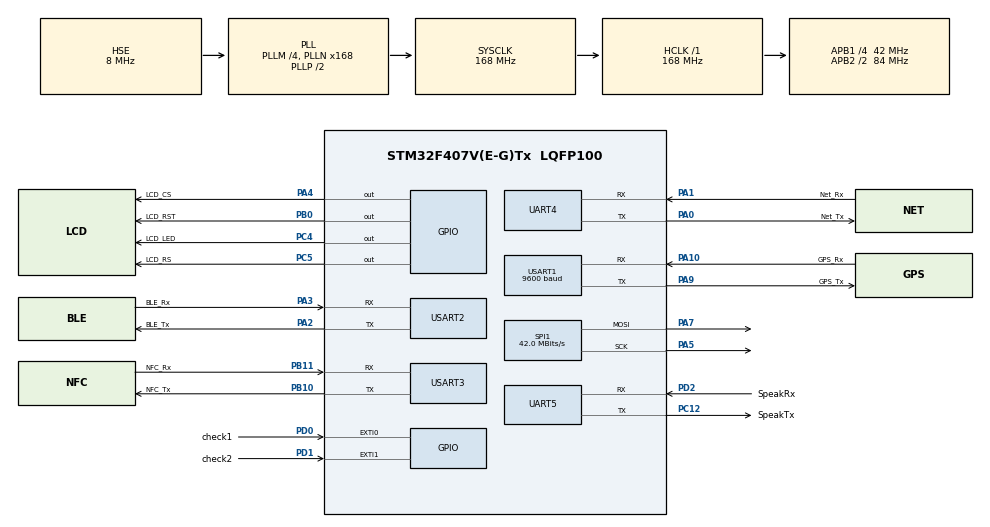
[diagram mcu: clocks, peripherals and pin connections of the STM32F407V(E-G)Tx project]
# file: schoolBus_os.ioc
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Dma.Request0=UART5_TX
Dma.Request1=UART5_RX
Dma.Request2=SPI1_TX
Dma.SPI1_TX.2.Direction=DMA_MEMORY_TO_PERIPH
Dma.SPI1_TX.2.FIFOMode=DMA_FIFOMODE_DISABLE
Dma.SPI1_TX.2.Instance=DMA2_Stream3
Dma.SPI1_TX.2.MemDataAlignment=DMA_MDATAALIGN_BYTE
Dma.SPI1_TX.2.MemInc=DMA_MINC_ENABLE
Dma.SPI1_TX.2.Mode=DMA_NORMAL
Dma.SPI1_TX.2.PeriphDataAlignment=DMA_PDATAALIGN_BYTE
Dma.SPI1_TX.2.PeriphInc=DMA_PINC_DISABLE
Dma.SPI1_TX.2.Priority=DMA_PRIORITY_MEDIUM
Dma.UART5_RX.1.Direction=DMA_PERIPH_TO_MEMORY
Dma.UART5_RX.1.FIFOMode=DMA_FIFOMODE_DISABLE
Dma.UART5_RX.1.Instance=DMA1_Stream0
Dma.UART5_RX.1.MemDataAlignment=DMA_MDATAALIGN_BYTE
Dma.UART5_RX.1.MemInc=DMA_MINC_ENABLE
Dma.UART5_RX.1.Mode=DMA_NORMAL
Dma.UART5_RX.1.PeriphDataAlignment=DMA_PDATAALIGN_BYTE
Dma.UART5_RX.1.PeriphInc=DMA_PINC_DISABLE
Dma.UART5_RX.1.Priority=DMA_PRIORITY_LOW
Dma.UART5_TX.0.Direction=DMA_MEMORY_TO_PERIPH
Dma.UART5_TX.0.FIFOMode=DMA_FIFOMODE_DISABLE
Dma.UART5_TX.0.Instance=DMA1_Stream7
Dma.UART5_TX.0.MemDataAlignment=DMA_MDATAALIGN_BYTE
Dma.UART5_TX.0.MemInc=DMA_MINC_ENABLE
Dma.UART5_TX.0.Mode=DMA_NORMAL
Dma.UART5_TX.0.PeriphDataAlignment=DMA_PDATAALIGN_BYTE
Dma.UART5_TX.0.PeriphInc=DMA_PINC_DISABLE
Dma.UART5_TX.0.Priority=DMA_PRIORITY_LOW
FREERTOS.Tasks01=defaultTask,0,128,StartDefaultTask,Default,NULL,Dynamic,NULL,NULL
Mcu.Family=STM32F4
Mcu.Name=STM32F407V(E-G)Tx
Mcu.Package=LQFP100
NVIC.DMA1_Stream0_IRQn=true\:5\:0\:false\:false\:true\:true\:false\:true\:true
NVIC.DMA1_Stream7_IRQn=true\:5\:0\:false\:false\:true\:true\:false\:true\:true
NVIC.DMA2_Stream3_IRQn=true\:5\:0\:false\:false\:true\:true\:false\:true\:true
NVIC.EXTI0_IRQn=true\:5\:0\:true\:false\:true\:true\:true\:true\:true
NVIC.EXTI1_IRQn=true\:5\:0\:true\:false\:true\:true\:true\:true\:true
NVIC.PriorityGroup=NVIC_PRIORITYGROUP_4
NVIC.TIM7_IRQn=true\:15\:0\:false\:false\:true\:false\:false\:true\:true
NVIC.TimeBase=TIM7_IRQn
NVIC.TimeBaseIP=TIM7
NVIC.UART4_IRQn=true\:5\:0\:false\:false\:true\:true\:true\:true\:true
NVIC.UART5_IRQn=true\:5\:0\:false\:false\:true\:true\:true\:true\:true
NVIC.USART1_IRQn=true\:5\:0\:true\:false\:true\:true\:true\:true\:true
NVIC.USART2_IRQn=true\:5\:0\:false\:false\:true\:true\:true\:true\:true
NVIC.USART3_IRQn=true\:5\:0\:false\:false\:true\:true\:true\:true\:true
PA0-WKUP.GPIO_Label=Net_Tx
PA0-WKUP.Mode=Asynchronous
PA0-WKUP.Signal=UART4_TX
PA1.GPIO_Label=Net_Rx
PA1.Mode=Asynchronous
PA1.Signal=UART4_RX
PA10.GPIO_Label=GPS_Rx
PA10.Mode=Asynchronous
PA10.Signal=USART1_RX
PA13.Mode=Serial_Wire
PA13.Signal=SYS_JTMS-SWDIO
PA14.Mode=Serial_Wire
PA14.Signal=SYS_JTCK-SWCLK
PA2.GPIO_Label=BLE_Tx
PA2.Mode=Asynchronous
PA2.Signal=USART2_TX
PA3.GPIO_Label=BLE_Rx
PA3.Mode=Asynchronous
PA3.Signal=USART2_RX
PA4.GPIO_Label=LCD_CS
PA4.GPIO_Speed=GPIO_SPEED_FREQ_VERY_HIGH
PA4.Signal=GPIO_Output
PA5.Mode=TX_Only_Simplex_Unidirect_Master
PA5.Signal=SPI1_SCK
PA7.Mode=TX_Only_Simplex_Unidirect_Master
PA7.Signal=SPI1_MOSI
PA9.GPIO_Label=GPS_Tx
PA9.Mode=Asynchronous
PA9.Signal=USART1_TX
PB0.GPIO_Label=LCD_RST
PB0.GPIO_Speed=GPIO_SPEED_FREQ_VERY_HIGH
PB0.Signal=GPIO_Output
PB10.GPIO_Label=NFC_Tx
PB10.Mode=Asynchronous
PB10.Signal=USART3_TX
PB11.GPIO_Label=NFC_Rx
PB11.Mode=Asynchronous
PB11.Signal=USART3_RX
PC12.GPIO_Label=SpeakTx
PC12.Mode=Asynchronous
PC12.Signal=UART5_TX
PC14-OSC32_IN.Mode=LSE-External-Oscillator
PC14-OSC32_IN.Signal=RCC_OSC32_IN
PC15-OSC32_OUT.Mode=LSE-External-Oscillator
PC15-OSC32_OUT.Signal=RCC_OSC32_OUT
PC4.GPIO_Label=LCD_LED
PC4.GPIO_Speed=GPIO_SPEED_FREQ_VERY_HIGH
PC4.Signal=GPIO_Output
PC5.GPIO_Label=LCD_RS
PC5.GPIO_Speed=GPIO_SPEED_FREQ_VERY_HIGH
PC5.Signal=GPIO_Output
PD0.GPIO_Label=check1
PD0.GPIO_ModeDefaultEXTI=GPIO_MODE_IT_FALLING
PD0.Signal=GPXTI0
PD1.GPIO_Label=check2
PD1.GPIO_ModeDefaultEXTI=GPIO_MODE_IT_FALLING
PD1.Signal=GPXTI1
PD2.GPIO_Label=SpeakRx
PD2.Mode=Asynchronous
PD2.Signal=UART5_RX
PH0-OSC_IN.Mode=HSE-External-Oscillator
PH0-OSC_IN.Signal=RCC_OSC_IN
PH1-OSC_OUT.Mode=HSE-External-Oscillator
PH1-OSC_OUT.Signal=RCC_OSC_OUT
ProjectManager.HeapSize=0x200
ProjectManager.StackSize=0x400
ProjectManager.TargetToolchain=MDK-ARM V5.32
RCC.48MHZClocksFreq_Value=84000000
RCC.AHBFreq_Value=168000000
RCC.APB1CLKDivider=RCC_HCLK_DIV4
RCC.APB1Freq_Value=42000000
RCC.APB1TimFreq_Value=84000000
RCC.APB2CLKDivider=RCC_HCLK_DIV2
RCC.APB2Freq_Value=84000000
RCC.APB2TimFreq_Value=168000000
RCC.CortexFreq_Value=168000000
RCC.HCLKFreq_Value=168000000
RCC.HSE_VALUE=8000000
RCC.HSI_VALUE=16000000
RCC.PLLM=4
RCC.PLLN=168
RCC.PLLSourceVirtual=RCC_PLLSOURCE_HSE
RCC.SYSCLKFreq_VALUE=168000000
RCC.SYSCLKSource=RCC_SYSCLKSOURCE_PLLCLK
RCC.VCOOutputFreq_Value=336000000
SPI1.CalculateBaudRate=42.0 MBits/s
SPI1.Direction=SPI_DIRECTION_2LINES
SPI1.Mode=SPI_MODE_MASTER
SPI1.VirtualType=VM_MASTER
UART4.VirtualMode=Asynchronous
UART5.VirtualMode=Asynchronous
USART1.BaudRate=9600
USART1.VirtualMode=VM_ASYNC
USART2.VirtualMode=VM_ASYNC
USART3.VirtualMode=VM_ASYNC
VP_FREERTOS_VS_CMSIS_V1.Mode=CMSIS_V1
VP_SYS_VS_tim7.Mode=TIM7
board=custom

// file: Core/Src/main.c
/* USER CODE BEGIN Header */
/**
  ******************************************************************************
  * @file           : main.c
  * @brief          : Main program body
  ******************************************************************************
  * @attention
  *
  * Copyright (c) 2024 STMicroelectronics.
  * All rights reserved.
  *
  * This software is licensed under terms that can be found in the LICENSE file
  * in the root directory of this software component.
  * If no LICENSE file comes with this software, it is provided AS-IS.
  *
  ******************************************************************************
  */
/* USER CODE END Header */
#include "main.h"
#include "cmsis_os.h"
#include "dma.h"
#include "spi.h"
#include "usart.h"
#include "gpio.h"

/* USER CODE BEGIN Includes */
#include "4G.h"
#include "DrivingTask.h"
#include "nfc.h"
#include "voiceMiddleware.h"
#include "Lcd_Driver.h"
/* USER CODE END Includes */

void SystemClock_Config(void);
void MX_FREERTOS_Init(void);

int main(void)
{

  /* MCU Configuration--------------------------------------------------------*/

  /* Reset of all peripherals, Initializes the Flash interface and the Systick. */
  HAL_Init();

  /* Configure the system clock */
  SystemClock_Config();

  /* Initialize all configured peripherals */
  MX_GPIO_Init();
  MX_DMA_Init();
  MX_USART1_UART_Init();
  MX_USART2_UART_Init();
  MX_USART3_UART_Init();
  MX_UART4_Init();
  MX_UART5_Init();
  MX_SPI1_Init();
  /* USER CODE BEGIN 2 */

	HAL_Delay(1000);

	//4Gģ���ʼ��
	HAL_UART_Receive_IT(&huart4,(uint8_t *)&rxData,1);
	//Net_Config();

	//NFC��ʼ��
	nfc_WakeUp();

	Init_voicemodule();
	//��ʻΥ���ʼ��
	DrivingTask_Init();
	Net_sendChar("r");
	//Init_voicemodule();
  /* USER CODE END 2 */

  /* Call init function for freertos objects (in cmsis_os2.c) */
  MX_FREERTOS_Init();

  /* Start scheduler */
  osKernelStart();

  /* We should never get here as control is now taken by the scheduler */

  /* Infinite loop */
  while (1)
  {

  }
}

void SystemClock_Config(void)
{
  RCC_OscInitTypeDef RCC_OscInitStruct = {0};
  RCC_ClkInitTypeDef RCC_ClkInitStruct = {0};

  /** Configure the main internal regulator output voltage
  */
  __HAL_RCC_PWR_CLK_ENABLE();
  __HAL_PWR_VOLTAGESCALING_CONFIG(PWR_REGULATOR_VOLTAGE_SCALE1);

  /** Initializes the RCC Oscillators according to the specified parameters
  * in the RCC_OscInitTypeDef structure.
  */
  RCC_OscInitStruct.OscillatorType = RCC_OSCILLATORTYPE_HSE;
  RCC_OscInitStruct.HSEState = RCC_HSE_ON;
  RCC_OscInitStruct.PLL.PLLState = RCC_PLL_ON;
  RCC_OscInitStruct.PLL.PLLSource = RCC_PLLSOURCE_HSE;
  RCC_OscInitStruct.PLL.PLLM = 4;
  RCC_OscInitStruct.PLL.PLLN = 168;
  RCC_OscInitStruct.PLL.PLLP = RCC_PLLP_DIV2;
  RCC_OscInitStruct.PLL.PLLQ = 4;
  if (HAL_RCC_OscConfig(&RCC_OscInitStruct) != HAL_OK)
  {
    Error_Handler();
  }

  /** Initializes the CPU, AHB and APB buses clocks
  */
  RCC_ClkInitStruct.ClockType = RCC_CLOCKTYPE_HCLK|RCC_CLOCKTYPE_SYSCLK
                              |RCC_CLOCKTYPE_PCLK1|RCC_CLOCKTYPE_PCLK2;
  RCC_ClkInitStruct.SYSCLKSource = RCC_SYSCLKSOURCE_PLLCLK;
  RCC_ClkInitStruct.AHBCLKDivider = RCC_SYSCLK_DIV1;
  RCC_ClkInitStruct.APB1CLKDivider = RCC_HCLK_DIV4;
  RCC_ClkInitStruct.APB2CLKDivider = RCC_HCLK_DIV2;

  if (HAL_RCC_ClockConfig(&RCC_ClkInitStruct, FLASH_LATENCY_5) != HAL_OK)
  {
    Error_Handler();
  }
}

void HAL_TIM_PeriodElapsedCallback(TIM_HandleTypeDef *htim)
{
  if (htim->Instance == TIM7) {
    HAL_IncTick();
  }
}

void Error_Handler(void)
{
  __disable_irq();
  while (1)
  {
  }
}

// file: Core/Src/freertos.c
/* USER CODE BEGIN Header */
/**
  ******************************************************************************
  * File Name          : freertos.c
  * Description        : Code for freertos applications
  ******************************************************************************
  * @attention
  *
  * Copyright (c) 2024 STMicroelectronics.
  * All rights reserved.
  *
  * This software is licensed under terms that can be found in the LICENSE file
  * in the root directory of this software component.
  * If no LICENSE file comes with this software, it is provided AS-IS.
  *
  ******************************************************************************
  */
/* USER CODE END Header */

#include "FreeRTOS.h"
#include "task.h"
#include "main.h"
#include "cmsis_os.h"

/* USER CODE BEGIN Includes */
#include "4G.h"
#include "GPS_Task.h"
#include "NFC_Task.h"
#include "Brocast_Task.h"
#include "DrivingTask.h"
#include "NetBroadcast.h"
#include "LCD_Task.h"
/* USER CODE END Includes */

/* USER CODE BEGIN Variables */
osThreadId NetSend_TaskHandle;
osThreadId NFC_TaskHandle;
osThreadId DrivingTask_TaskHandle;
osThreadId Brocast_Task_TaskHandle;
osThreadId NetBroadcastTask_TaskHandle;
osThreadId LCD_Task_TaskHandle;
/* USER CODE END Variables */
osThreadId defaultTaskHandle;

void StartDefaultTask(void const * argument);

void MX_FREERTOS_Init(void); /* (MISRA C 2004 rule 8.1) */

/* GetIdleTaskMemory prototype (linked to static allocation support) */
void vApplicationGetIdleTaskMemory( StaticTask_t **ppxIdleTaskTCBBuffer, StackType_t **ppxIdleTaskStackBuffer, uint32_t *pulIdleTaskStackSize );

/* USER CODE BEGIN GET_IDLE_TASK_MEMORY */
static StaticTask_t xIdleTaskTCBBuffer;
static StackType_t xIdleStack[configMINIMAL_STACK_SIZE];

void vApplicationGetIdleTaskMemory( StaticTask_t **ppxIdleTaskTCBBuffer, StackType_t **ppxIdleTaskStackBuffer, uint32_t *pulIdleTaskStackSize )
{
  *ppxIdleTaskTCBBuffer = &xIdleTaskTCBBuffer;
  *ppxIdleTaskStackBuffer = &xIdleStack[0];
  *pulIdleTaskStackSize = configMINIMAL_STACK_SIZE;
  /* place for user code */
}
/* USER CODE END GET_IDLE_TASK_MEMORY */

void MX_FREERTOS_Init(void) {

  /* Create the thread(s) */
  /* definition and creation of defaultTask */
  osThreadDef(defaultTask, StartDefaultTask, osPriorityNormal, 0, 128);
  defaultTaskHandle = osThreadCreate(osThread(defaultTask), NULL);

  /* USER CODE BEGIN RTOS_THREADS */
  /* add threads, ... */
  osThreadDef(NetSend_Task, NetSend_Task, osPriorityNormal, 0, 256);
  NetSend_TaskHandle = osThreadCreate(osThread(NetSend_Task), NULL);

  osThreadDef(NFC_Task, NFC_Task, osPriorityNormal, 0, 1024);
  NFC_TaskHandle = osThreadCreate(osThread(NFC_Task), NULL);

  osThreadDef(DrivingTask, DrivingTask, osPriorityNormal, 0, 256);
  DrivingTask_TaskHandle = osThreadCreate(osThread(DrivingTask), NULL);

  osThreadDef(Brocast_Task, Brocast_Task, osPriorityNormal, 0, 256);
  Brocast_Task_TaskHandle = osThreadCreate(osThread(Brocast_Task), NULL);

	osThreadDef(NetBroadcastTask, NetBroadcastTask, osPriorityNormal, 0, 256);
  NetBroadcastTask_TaskHandle = osThreadCreate(osThread(NetBroadcastTask), NULL);

	osThreadDef(LCD_Task, LCD_Task, osPriorityNormal, 0, 256);
  LCD_Task_TaskHandle = osThreadCreate(osThread(LCD_Task), NULL);
  /* USER CODE END RTOS_THREADS */

}

void StartDefaultTask(void const * argument)
{
  for(;;)
  {
    osDelay(1);
  }
}
